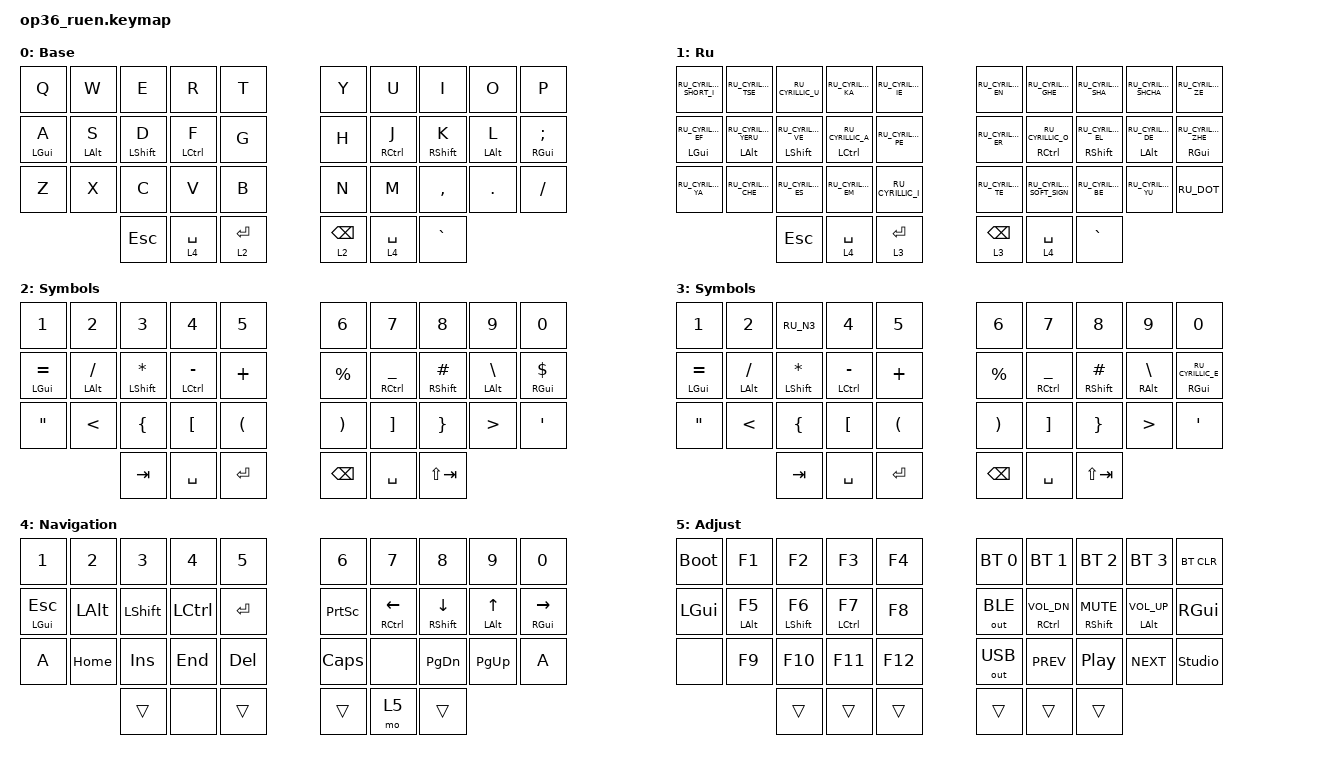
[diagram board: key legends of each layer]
#include "keys_ru.h"
#include "keys_ru.h"
#include <behaviors.dtsi>
#include <dt-bindings/zmk/bt.h>
#include <dt-bindings/zmk/keys.h>
#include <dt-bindings/zmk/outputs.h>

&mt {
    quick-tap-ms = <200>;
    flavor = "tap-preferred";
    require-prior-idle-ms = <125>;
};

&lt { flavor = "balanced"; };

/ {
    behaviors {
        hml: home_row_mod_left {
            compatible = "zmk,behavior-hold-tap";
            #binding-cells = <2>;
            flavor = "balanced";
            require-prior-idle-ms = <150>;
            tapping-term-ms = <280>;
            quick-tap-ms = <175>;
            bindings = <&kp>, <&kp>;

            hold-trigger-key-positions = <5 6 7 8 9 15 16 17 18 19 25 26 27 28 29 33 34 35>;
            hold-trigger-on-release;
        };

        hmr: home_row_mod_right {
            compatible = "zmk,behavior-hold-tap";
            #binding-cells = <2>;
            flavor = "balanced";
            require-prior-idle-ms = <150>;
            tapping-term-ms = <280>;
            quick-tap-ms = <175>;
            bindings = <&kp>, <&kp>;

            hold-trigger-key-positions = <0 1 2 3 4 10 11 12 13 14 20 21 22 23 24 30 31 32>;
            hold-trigger-on-release;
        };
    };

    combos {
        compatible = "zmk,combos";

        kha {
            bindings = <&kp RU_CYRILLIC_HA>;
            key-positions = <6 7>;
            layers = <1>;
        };

        hrdsgn {
            bindings = <&kp RU_CYRILLIC_HARD_SIGN>;
            key-positions = <7 8>;
            layers = <1>;
        };

        cmben {
            bindings = <&to 0>;
            key-positions = <31 34>;
            layers = <1>;
        };

        cmbru {
            bindings = <&to 1>;
            key-positions = <31 34>;
            layers = <0>;
        };
    };

    keymap {
        compatible = "zmk,keymap";

        en {
            bindings = <
  &kp Q        &kp W        &kp E         &kp R         &kp T                                      &kp Y        &kp U         &kp I         &kp O        &kp P
  &hml LGUI A  &hml LALT S  &hml LSHFT D  &hml LCTRL F  &kp G                                      &kp H        &hmr RCTRL J  &hmr RSHFT K  &hmr LALT L  &hmr RGUI SEMICOLON
  &kp Z        &kp X        &kp C         &kp V         &kp B                                      &kp N        &kp M         &kp COMMA     &kp DOT      &kp SLASH
                                          &kp ESCAPE    &lt 4 SPACE  &lt 2 RET    &lt 2 BACKSPACE  &lt 4 SPACE  &kp GRAVE
            >;

            display-name = "Base";
        };

        ru {
            bindings = <
  &kp RU_CYRILLIC_SHORT_I   &kp RU_CYRILLIC_TSE         &kp RU_CYRILLIC_U          &kp RU_CYRILLIC_KA        &kp RU_CYRILLIC_IE                                  &kp RU_CYRILLIC_EN  &kp RU_CYRILLIC_GHE        &kp RU_CYRILLIC_SHA        &kp RU_CYRILLIC_SHCHA     &kp RU_CYRILLIC_ZE
  &hml LGUI RU_CYRILLIC_EF  &hml LALT RU_CYRILLIC_YERU  &hml LSHFT RU_CYRILLIC_VE  &hml LCTRL RU_CYRILLIC_A  &kp RU_CYRILLIC_PE                                  &kp RU_CYRILLIC_ER  &hmr RCTRL RU_CYRILLIC_O   &hmr RSHFT RU_CYRILLIC_EL  &hmr LALT RU_CYRILLIC_DE  &hmr RGUI RU_CYRILLIC_ZHE
  &kp RU_CYRILLIC_YA        &kp RU_CYRILLIC_CHE         &kp RU_CYRILLIC_ES         &kp RU_CYRILLIC_EM        &kp RU_CYRILLIC_I                                   &kp RU_CYRILLIC_TE  &kp RU_CYRILLIC_SOFT_SIGN  &kp RU_CYRILLIC_BE         &kp RU_CYRILLIC_YU        &kp RU_DOT
                                                                                   &kp ESCAPE                &lt 4 SPACE         &lt 3 ENTER    &lt 3 BACKSPACE  &lt 4 SPACE         &kp GRAVE
            >;

            display-name = "Ru";
        };

        sym_en {
            bindings = <
  &kp N1           &kp N2           &kp N3            &kp N4            &kp N5                                          &kp N6                 &kp N7                 &kp N8           &kp N9               &kp N0
  &hml LGUI EQUAL  &hml LALT SLASH  &hml LSHFT ASTRK  &hml LCTRL MINUS  &kp PLUS                                        &kp PRCNT              &hmr RCTRL UNDERSCORE  &hmr RSHFT HASH  &hmr LALT BACKSLASH  &hmr RGUI DOLLAR
  &kp DQT          &kp LESS_THAN    &kp LEFT_BRACE    &kp LEFT_BRACKET  &kp LEFT_PARENTHESIS                            &kp RIGHT_PARENTHESIS  &kp RIGHT_BRACKET      &kp RIGHT_BRACE  &kp GREATER_THAN     &kp SQT
                                                      &kp TAB           &kp SPACE             &kp RET    &kp BACKSPACE  &kp SPACE              &kp LS(TAB)
            >;

            display-name = "Symbols";
        };

        sym_ru {
            bindings = <
  &kp N1           &kp N2           &kp RU_N3         &kp N4            &kp N5                                          &kp N6                 &kp N7             &kp N8           &kp N9               &kp N0
  &hml LGUI EQUAL  &hml LALT SLASH  &hml LSHFT ASTRK  &hml LCTRL MINUS  &kp PLUS                                        &kp PRCNT              &hmr RCTRL UNDER   &hmr RSHFT HASH  &hmr RALT BACKSLASH  &hmr RGUI RU_CYRILLIC_E
  &kp DQT          &kp LESS_THAN    &kp LEFT_BRACE    &kp LEFT_BRACKET  &kp LEFT_PARENTHESIS                            &kp RIGHT_PARENTHESIS  &kp RIGHT_BRACKET  &kp RIGHT_BRACE  &kp GREATER_THAN     &kp SQT
                                                      &kp TAB           &kp SPACE             &kp RET    &kp BACKSPACE  &kp SPACE              &kp LS(TAB)
            >;

            display-name = "Symbols";
        };

        nav {
            bindings = <
  &kp N1         &kp N2    &kp N3     &kp N4     &kp N5                        &kp N6           &kp N7           &kp N8           &kp N9        &kp N0
  &hml LGUI ESC  &kp LALT  &kp LSHFT  &kp LCTRL  &kp ENTER                     &kp PRINTSCREEN  &hmr RCTRL LEFT  &hmr RSHFT DOWN  &hmr LALT UP  &hmr RGUI RIGHT
  &kp A          &kp HOME  &kp INS    &kp END    &kp DELETE                    &kp CAPS         &none            &kp PG_DN        &kp PG_UP     &kp A
                                      &trans     &none       &trans    &trans  &mo 5            &trans
            >;

            display-name = "Navigation";
        };

        adj {
            bindings = <
  &bootloader  &kp F1        &kp F2         &kp F3         &kp F4                     &bt BT_SEL 0  &bt BT_SEL 1         &bt BT_SEL 2       &bt BT_SEL 3        &bt BT_CLR
  &kp LGUI     &hml LALT F5  &hml LSHFT F6  &hml LCTRL F7  &kp F8                     &out OUT_BLE  &hmr RCTRL C_VOL_DN  &hmr RSHFT C_MUTE  &hmr LALT C_VOL_UP  &kp RGUI
  &none        &kp F9        &kp F10        &kp F11        &kp F12                    &out OUT_USB  &kp C_PREV           &kp C_PP           &kp C_NEXT          &studio_unlock
                                            &trans         &trans   &trans    &trans  &trans        &trans
            >;

            display-name = "Adjust";
        };
    };
};
